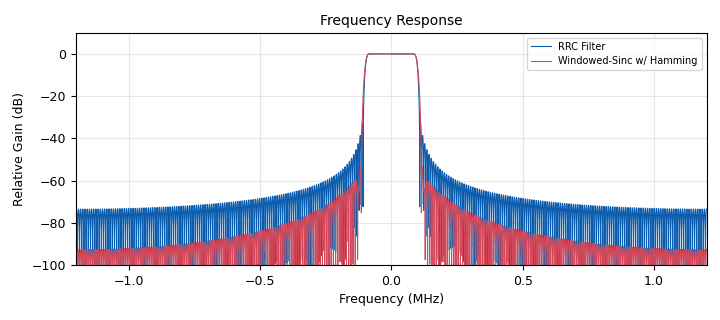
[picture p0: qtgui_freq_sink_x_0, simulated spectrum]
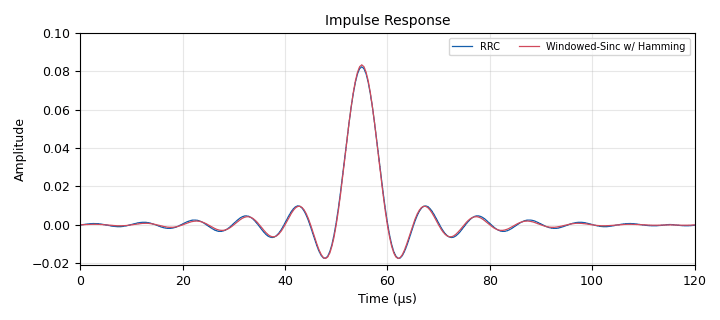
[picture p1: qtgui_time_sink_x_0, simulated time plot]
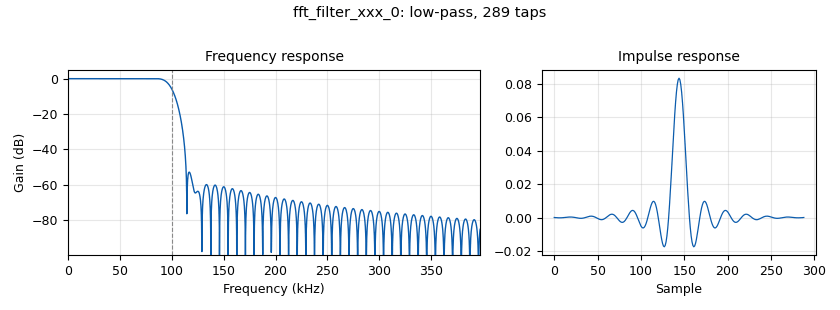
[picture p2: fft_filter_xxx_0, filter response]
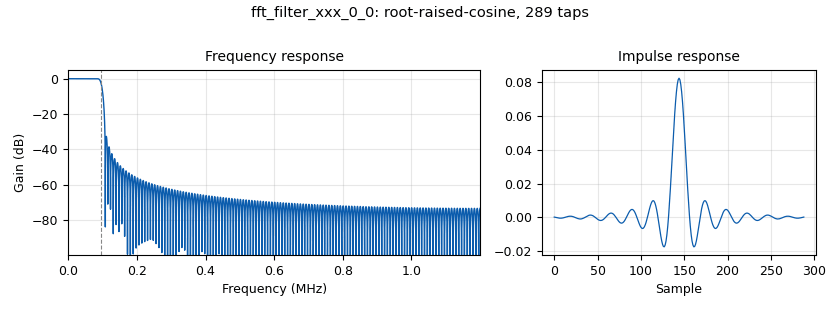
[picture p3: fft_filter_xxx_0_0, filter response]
options:
  parameters:
    author: Gary Schafer
    generate_options: qt_gui
    id: filter_impulse_response_rrc
    output_language: python
    title: Filter Impulse Response - RRC Filter
  states: {}

blocks:
- name: N
  id: variable
  parameters:
    value: 2**14
  states: {}
- name: lpf
  id: variable_low_pass_filter_taps
  parameters:
    cutoff_freq: 100e3
    gain: '1.0'
    samp_rate: samp_rate
    width: 20e3
    win: window.WIN_HAMMING
  states: {}
- name: lpf_length
  id: variable
  parameters:
    value: len(lpf)
  states: {}
- name: rrc_taps
  id: variable_rrc_filter_taps
  parameters:
    alpha: '0.1'
    gain: '1.0'
    ntaps: lpf_length
    samp_rate: samp_rate
    sym_rate: 192e3
  states: {}
- name: samp_rate
  id: variable
  parameters:
    value: 2.4e6
  states: {}
- name: sym_rate
  id: variable
  parameters:
    value: 180e3
  states: {}
- name: blocks_throttle_0
  id: blocks_throttle
  parameters:
    samples_per_second: samp_rate
    type: float
  states: {}
- name: blocks_vector_source_x_0
  id: blocks_vector_source_x
  parameters:
    comment: Impulse generator
    repeat: 'True'
    type: float
    vector: '[0,]*int(N/2-1)+[N,]+[0,]*int(N/2)'
  states: {}
- name: blocks_vector_source_x_1
  id: blocks_vector_source_x
  parameters:
    repeat: 'True'
    type: float
    vector: '[1,]+[0,]*int(lpf_length-1)'
  states: {}
- name: fft_filter_xxx_0
  id: fft_filter_xxx
  parameters:
    decim: '1'
    taps: lpf
    type: fff
  states: {}
- name: fft_filter_xxx_0_0
  id: fft_filter_xxx
  parameters:
    decim: '1'
    taps: rrc_taps
    type: fff
  states: {}
- name: fft_filter_xxx_0_0_0
  id: fft_filter_xxx
  parameters:
    decim: '1'
    taps: rrc_taps
    type: fff
  states: {}
- name: fft_filter_xxx_0_1
  id: fft_filter_xxx
  parameters:
    decim: '1'
    taps: lpf
    type: fff
  states: {}
- name: import_0
  id: import
  parameters:
    imports: import numpy as np
  states: {}
- name: myTabs
  id: qtgui_tab_widget
  parameters:
    gui_hint: 0,0,20,20
    label0: Impulse Response
    label1: Frequency Response
    num_tabs: '2'
  states: {}
- name: qtgui_freq_sink_x_0
  id: qtgui_freq_sink_x
  parameters:
    bw: samp_rate
    color1: '"black"'
    fc: '0'
    fftsize: N
    grid: 'True'
    gui_hint: myTabs@1
    label1: RRC Filter
    label2: Windowed-Sinc w/ Hamming
    name: Frequency Response
    nconnections: '2'
    type: float
    ymin: '-100'
  states: {}
- name: qtgui_time_sink_x_0
  id: qtgui_time_sink_x
  parameters:
    grid: 'True'
    gui_hint: myTabs@0
    label1: RRC
    label2: Windowed-Sinc w/ Hamming
    name: Impulse Response
    nconnections: '2'
    size: lpf_length
    srate: samp_rate
    type: float
    ymax: 1.2*np.max(lpf)
    ymin: 1.2*np.min(lpf)
  states: {}

connections:
- [blocks_throttle_0, '0', fft_filter_xxx_0, '0']
- [blocks_throttle_0, '0', fft_filter_xxx_0_0, '0']
- [blocks_vector_source_x_0, '0', blocks_throttle_0, '0']
- [blocks_vector_source_x_1, '0', fft_filter_xxx_0_0_0, '0']
- [blocks_vector_source_x_1, '0', fft_filter_xxx_0_1, '0']
- [fft_filter_xxx_0, '0', qtgui_freq_sink_x_0, '1']
- [fft_filter_xxx_0_0, '0', qtgui_freq_sink_x_0, '0']
- [fft_filter_xxx_0_0_0, '0', qtgui_time_sink_x_0, '0']
- [fft_filter_xxx_0_1, '0', qtgui_time_sink_x_0, '1']

metadata:
  file_format: 1
  grc_version: 3.10.9.2
